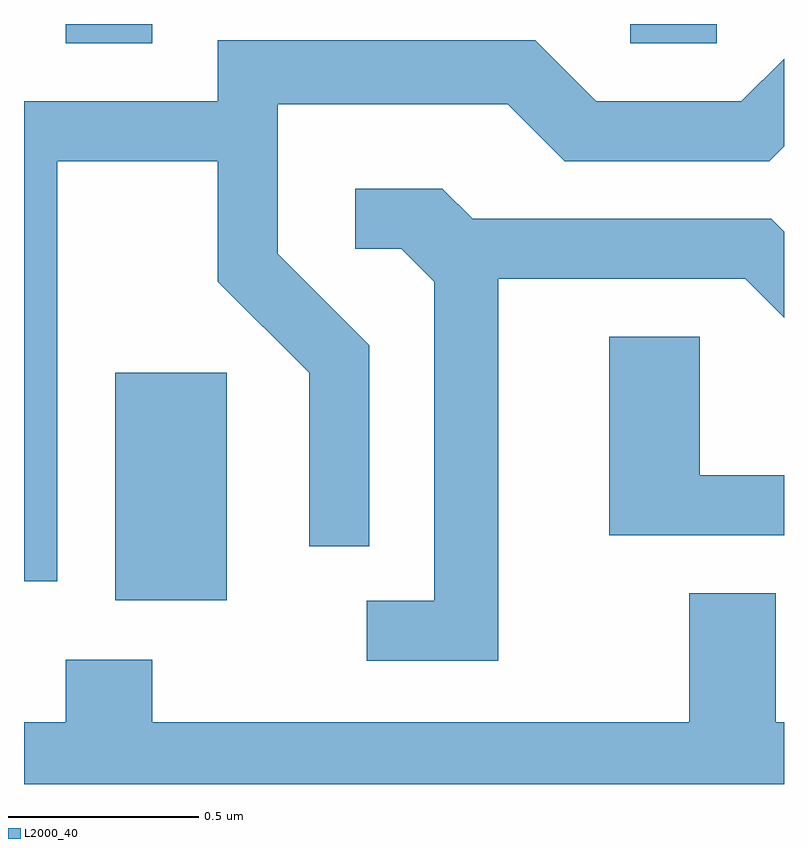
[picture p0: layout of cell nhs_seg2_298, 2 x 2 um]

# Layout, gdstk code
import gdstk
lib = gdstk.Library(unit=1e-6, precision=1e-09)
def R(c, l, rs):  # rectangles x0, y0, x1, y1
    for r in rs: c.add(gdstk.rectangle(r[:2], r[2:], *l))
def P(c, l, *ps):  # polygons
    for p in ps: c.add(gdstk.Polygon(p, *l))
L2000_40 = (2000, 40)

nhs_seg2_298 = lib.new_cell('nhs_seg2_298')
R(nhs_seg2_298, L2000_40, [(187.851,1002.286,188.144,1002.884), (187.721,1003.751,187.949,1003.802), (189.206,1003.751,189.434,1003.802)])
P(nhs_seg2_298, L2000_40, [(187.699,1003.441),(188.121,1003.441),(188.121,1003.124),(188.361,1002.884),(188.361,1002.428),(188.519,1002.428),(188.519,1002.957),(188.279,1003.197),(188.279,1003.591),(188.884,1003.591),(189.034,1003.441),(189.572,1003.441),(189.611,1003.48),(189.611,1003.711),(189.499,1003.599),(189.117,1003.599),(188.957,1003.759),(188.121,1003.759),(188.121,1003.599),(187.611,1003.599),(187.611,1002.336),(187.699,1002.336)],
  [(188.859,1003.131),(189.509,1003.131),(189.611,1003.029),(189.611,1003.255),(189.577,1003.289),(188.792,1003.289),(188.712,1003.369),(188.483,1003.369),(188.483,1003.211),(188.604,1003.211),(188.691,1003.124),(188.691,1002.284),(188.513,1002.284),(188.513,1002.126),(188.859,1002.126)],
  [(189.611,1002.614),(189.389,1002.614),(189.389,1002.979),(189.151,1002.979),(189.151,1002.456),(189.611,1002.456)],
  [(189.611,1001.964),(189.589,1001.964),(189.589,1002.304),(189.361,1002.304),(189.361,1001.964),(187.949,1001.964),(187.949,1002.129),(187.721,1002.129),(187.721,1001.964),(187.611,1001.964),(187.611,1001.802),(189.611,1001.802)])

lib.write_gds('nhs_seg2_298.gds')
